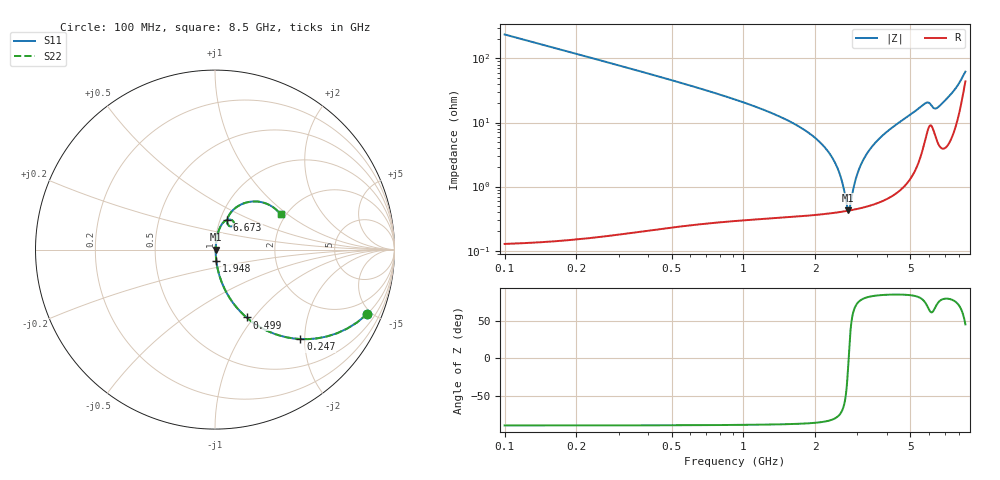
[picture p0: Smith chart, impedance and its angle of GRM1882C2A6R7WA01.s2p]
!Murata Part Number: GRM1882C2A6R7WA01
!These Parameters are Measured in Series Mode Connection
!Data Generated on Mar 30, 2021
!  o--ll--o
!Port1  Port2
!  o------o
!Operation Temp=25[degC], DC Bias Voltage=0[V]
!Freq. Start=100[MHz] Stop=9[GHz] 401[Steps]
# Hz S RI R 50
!Freq.(Hz) S11(Real) S11(Imag) S21(Real) S21(Imag) S12(Real) S12(Imag) S22(Real) S22(Imag)
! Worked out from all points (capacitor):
!   401 points, 100 MHz to 8.5 GHz, reference 50 ohm
!   read as one part in series: C = 6.7 pF near 142 MHz
!   lowest |Z| = 427 mohm at 2.746 GHz (marker M1)
!   series resonance near 2.757 GHz, so ESL is about 500 pH
!   S11 on the Smith chart (normalised r, x): 100 MHz: 1.00, -4.74; 247 MHz: 1.00, -1.91; 499 MHz: 1.00, -0.92; 1.948 GHz: 1.01, -0.12; 6.673 GHz: 1.08, +0.36; 8.5 GHz: 1.88, +0.89
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1e8  0.849 -0.3578  0.151 0.3578  0.151 0.3578  0.849 -0.3578
2.47e8  0.4762 -0.4986  0.5238 0.4986  0.5238 0.4986  0.4762 -0.4986
3.52e8  0.3061 -0.4594  0.6939 0.4594  0.6939 0.4594  0.3061 -0.4594
4.99e8  0.1759 -0.3782  0.8241 0.3782  0.8241 0.3782  0.1759 -0.3782
8.56e8  0.0616 -0.2348  0.9384 0.2348  0.9384 0.2348  0.0616 -0.2348
1.507e9  0.0154 -0.1093  0.9846 0.1093  0.9846 0.1093  0.0154 -0.1093
1.948e9  0.00735 -0.0613  0.9926 0.0613  0.9926 0.0613  0.00735 -0.0613
2.221e9  0.0052 -0.038  0.9948 0.038  0.9948 0.038  0.0052 -0.038
2.431e9  0.00439 -0.0222  0.9956 0.0222  0.9956 0.0222  0.00439 -0.0222
2.578e9  0.00417 -0.0119  0.9958 0.0119  0.9958 0.0119  0.00417 -0.0119
2.746e9  0.00418 -0.000735  0.9958 0.000735  0.9958 0.000735  0.00418 -0.000735
2.788e9  0.00423 0.00196  0.9958 -0.00196  0.9958 -0.00196  0.00423 0.00196
2.914e9  0.00446 0.00984  0.9955 -0.00984  0.9955 -0.00984  0.00446 0.00984
3.103e9  0.00504 0.0212  0.995 -0.0212  0.995 -0.0212  0.00504 0.0212
3.376e9  0.00636 0.0369  0.9936 -0.0369  0.9936 -0.0369  0.00636 0.0369
4.3e9  0.0152 0.0871  0.9848 -0.0871  0.9848 -0.0871  0.0152 0.0871
5.707e9  0.0737 0.167  0.9263 -0.167  0.9263 -0.167  0.0737 0.167
6.316e9  0.0812 0.1307  0.9188 -0.1307  0.9188 -0.1307  0.0812 0.1307
6.673e9  0.0681 0.1629  0.9319 -0.1629  0.9319 -0.1629  0.0681 0.1629
7.114e9  0.0867 0.2048  0.9133 -0.2048  0.9133 -0.2048  0.0867 0.2048
8.038e9  0.2228 0.2683  0.7772 -0.2683  0.7772 -0.2683  0.2228 0.2683
8.5e9  0.3654 0.1956  0.6346 -0.1956  0.6346 -0.1956  0.3654 0.1956
